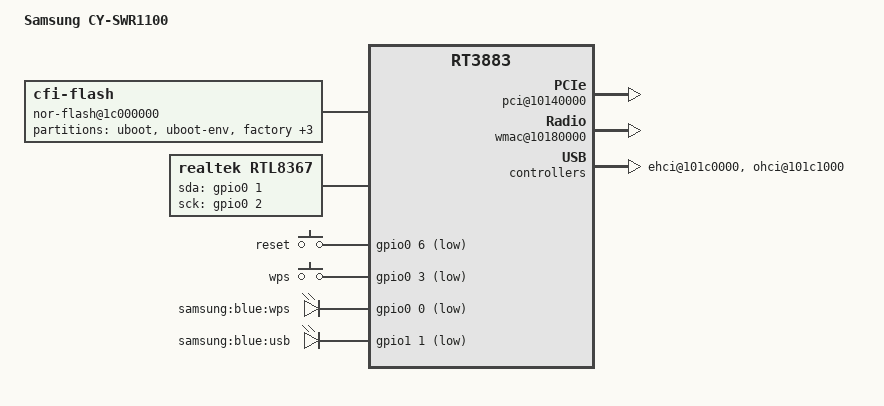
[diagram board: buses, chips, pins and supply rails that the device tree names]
/dts-v1/;

/include/ "rt3883.dtsi"

/ {
	compatible = "CY-SWR1100", "ralink,rt3883-soc";
	model = "Samsung CY-SWR1100";

	palmbus@10000000 {
		gpio1: gpio@638 {
			status = "okay";
		};
	};

	pinctrl {
		state_default: pinctrl0 {
			gpio {
				ralink,group = "i2c", "spi";
				ralink,function = "gpio";
			};
		};
	};

	ethernet@10100000 {
		mtd-mac-address = <&factory 0x66>;
		port@0 {
			ralink,fixed-link = <1000 1 1 1>;
		};
	};

	pci@10140000 {
		status = "okay";

		pinctrl-names = "default";
		pinctrl-0 = <&pci_pins>;
		pci_pins: pci {
			pci {
				ralink,group = "pci";
				ralink,function = "pci-fnc";
			};
		};

		host-bridge {
			pci-bridge@1 {
				status = "okay";
			};
		};
	};

	wmac@10180000 {
		status = "okay";
	};

	ehci@101c0000 {
		status = "okay";
	};

	ohci@101c1000 {
		status = "okay";
	};

	nor-flash@1c000000 {
		compatible = "cfi-flash";
		reg = <0x1c000000 0x800000>;

		bank-width = <2>;
		#address-cells = <1>;
		#size-cells = <1>;

		partition@0 {
			label = "uboot";
			reg = <0x0 0x30000>;
			read-only;
		};
		partition@30000 {
			label = "uboot-env";
			reg = <0x30000 0x4000>;
			read-only;
		};
		factory: partition@34000 {
			label = "factory";
			reg = <0x34000 0x4000>;
			read-only;
		};
		partition@38000 {
			label = "nvram";
			reg = <0x38000 0x8000>;
			read-only;
		};
		partition@40000 {
			label = "devdata";
			reg = <0x40000 0x10000>;
		};
		partition@50000 {
			label = "firmware";
			reg = <0x50000 0x7b0000>;
		};
	};

	rtl8367 {
		compatible = "realtek,rtl8367";
		gpio-sda = <&gpio0 1 0>;
		gpio-sck = <&gpio0 2 0>;
		realtek,extif0 = <1 0 1 1 1 1 1 1 2>;
	};

	gpio-keys-polled {
		compatible = "gpio-keys-polled";
		#address-cells = <1>;
		#size-cells = <0>;
		poll-interval = <100>;
		reset {
			label = "reset";
			gpios = <&gpio0 6 1>;
			linux,code = <0x198>;
		};
		wps {
			label = "wps";
			gpios = <&gpio0 3 1>;
			linux,code = <0x211>;
		};
	};

	gpio-leds {
		compatible = "gpio-leds";
		wps {
			label = "samsung:blue:wps";
			gpios = <&gpio0 0 1>;
		};
		usb {
			label = "samsung:blue:usb";
			gpios = <&gpio1 1 1>;
		};
	};
};
